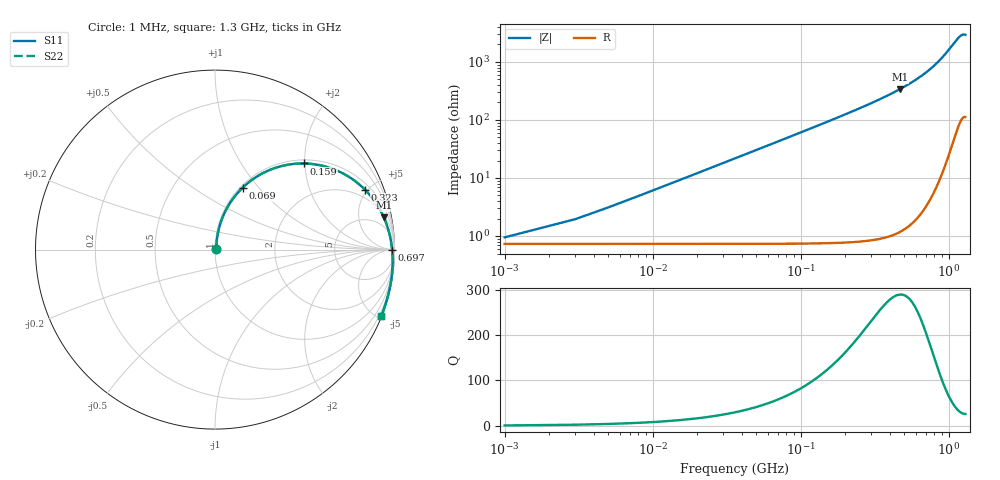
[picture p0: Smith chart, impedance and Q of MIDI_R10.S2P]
! Coilcraft 1812SMS-R10 Midi Spring Air Core Inductor
! 10 June 2003
# MHZ S MA R 50
!Freq  MagS11  AngS11  MagS21  AngS21  MagS12  AngS12  MagS22  AngS22
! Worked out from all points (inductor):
!   651 points, 1 MHz to 1.3 GHz, reference 50 ohm
!   read as one part in series: L = 96 nH near 7 MHz
!   highest Q = 289 at 469 MHz (marker M1), where L = 115 nH
!   S11 on the Smith chart (normalised r, x): 1 MHz: 1.01, +0.01; 69 MHz: 1.03, +0.83; 159 MHz: 1.08, +1.98; 323 MHz: 1.38, +4.83; 697 MHz: open; 1.3 GHz: 0.04, -5.17
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1  0.009341 38.7  0.9927 -0.3  0.9927 -0.3  0.009343 38.7
5  0.03028 74.4  0.9923 -1.7  0.9923 -1.7  0.0303 74.4
9  0.05337 79.1  0.9914 -3.1  0.9914 -3.1  0.05339 79.1
11  0.06498 79.8  0.9907 -3.8  0.9907 -3.8  0.06501 79.8
15  0.08821 80.1  0.9889 -5.2  0.9889 -5.2  0.08825 80.1
21  0.1229 79.3  0.9852 -7.3  0.9852 -7.3  0.1229 79.3
29  0.1684 77.5  0.9786 -10.0  0.9786 -10.0  0.1685 77.5
41  0.2349 74.2  0.965 -14.1  0.965 -14.1  0.235 74.2
53  0.2983 70.7  0.9475 -18.0  0.9475 -18.0  0.2985 70.7
69  0.3774 66.0  0.9193 -23.0  0.9193 -23.0  0.3775 66.0
107  0.5362 55.7  0.8378 -33.7  0.8378 -33.7  0.5364 55.7
159  0.6903 44.0  0.7179 -45.5  0.7179 -45.5  0.6907 44.0
219  0.801 33.8  0.5937 -55.8  0.5937 -55.8  0.8014 33.8
323  0.9 21.7  0.4316 -68.0  0.4316 -68.0  0.9005 21.7
435  0.9481 13.0  0.3138 -76.8  0.3138 -76.8  0.9486 13.0
469  0.957 10.9  0.2859 -78.9  0.2859 -78.9  0.9574 10.9
651  0.9835 1.8  0.175 -88.0  0.175 -88.0  0.984 1.8
697  0.987 -0.1  0.1542 -89.9  0.1542 -89.9  0.9874 -0.1
867  0.9943 -6.6  0.0941 -96.1  0.0941 -96.1  0.9948 -6.6
1085  0.9973 -14.1  0.04703 -102.8  0.04703 -102.8  0.9978 -14.1
1207  0.9975 -18.4  0.03448 -106.5  0.03448 -106.5  0.998 -18.4
1300  0.9973 -21.9  0.03283 -109.7  0.03283 -109.7  0.9978 -21.9
